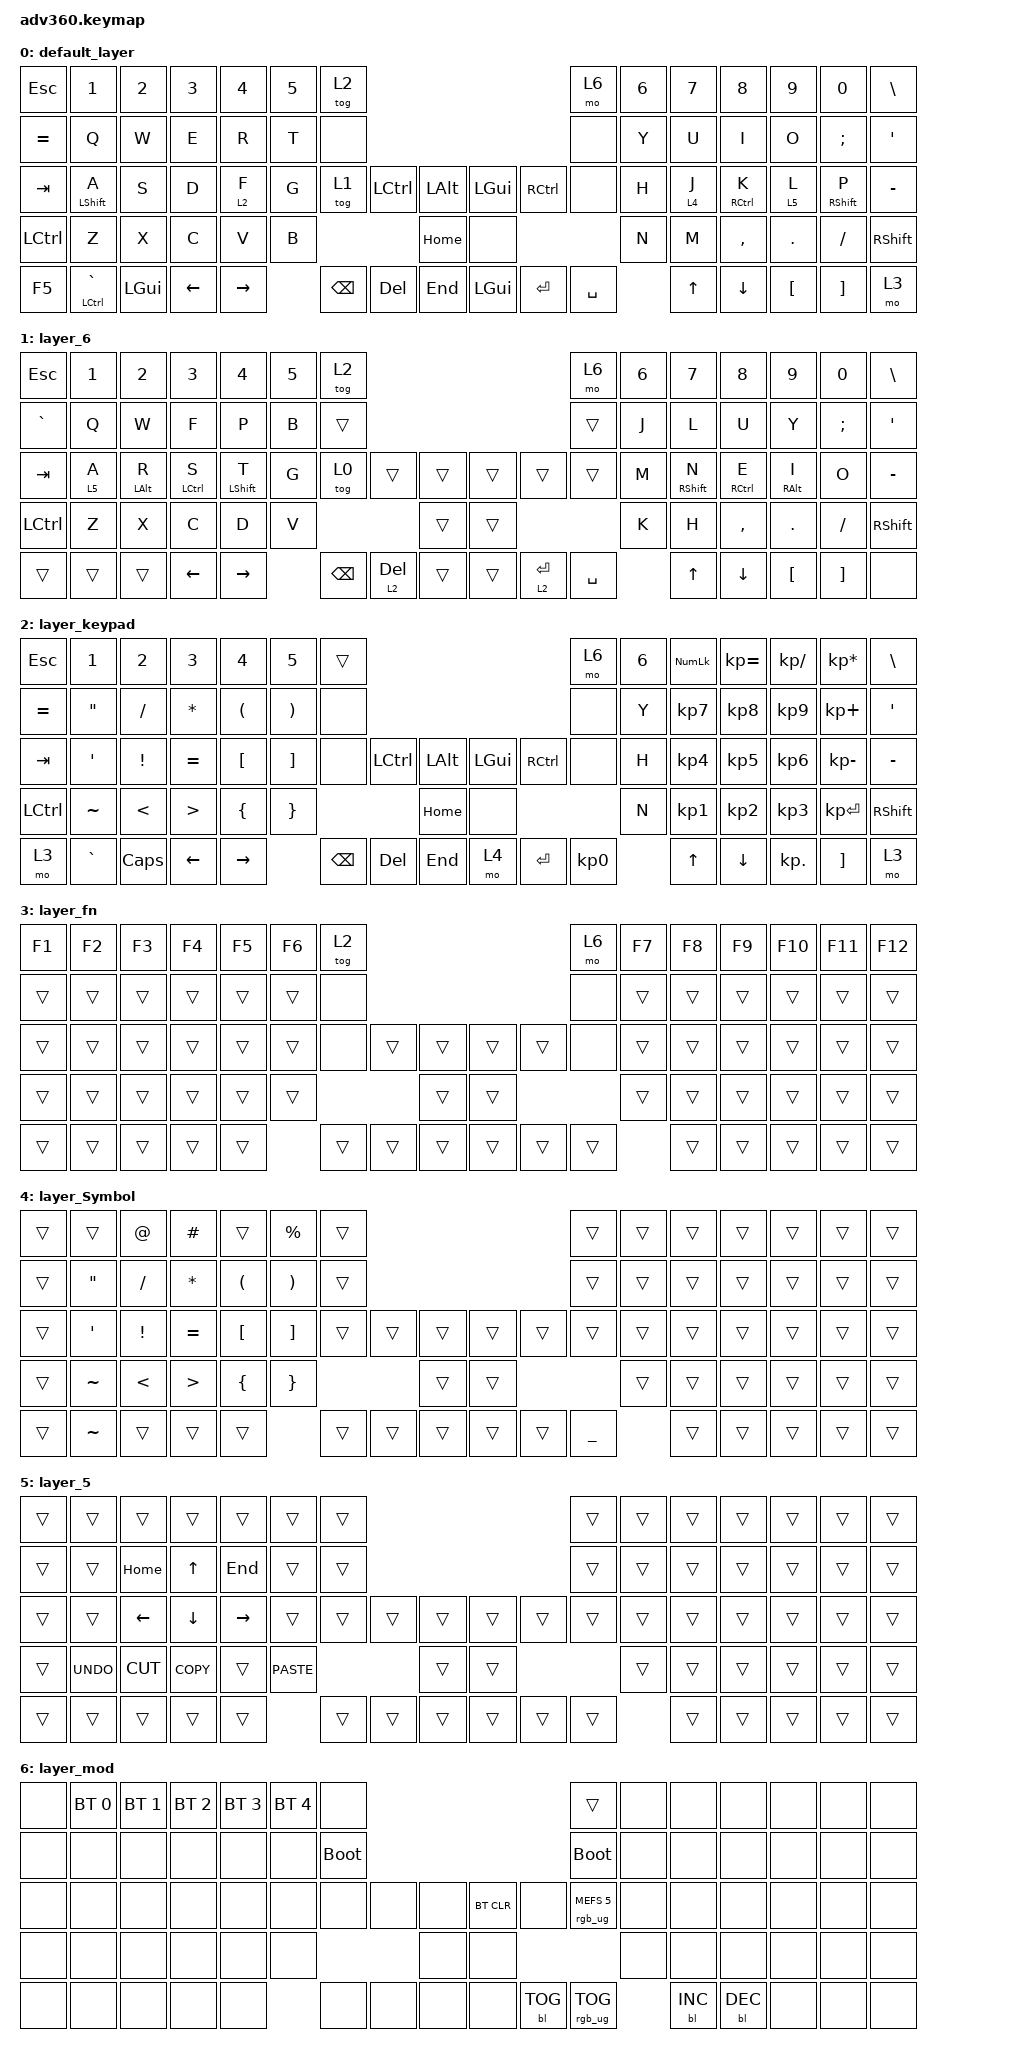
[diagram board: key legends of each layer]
/*
 * Copyright (c) 2020 The ZMK Contributors
 *
 * SPDX-License-Identifier: MIT
 */
/* THIS FILE WAS GENERATED!
 *
 * This file was generated automatically. You may or may not want to
 * edit it directly.
 */

#include <behaviors.dtsi>
#include <dt-bindings/zmk/backlight.h>
#include <dt-bindings/zmk/bt.h>
#include <dt-bindings/zmk/keys.h>
#include <dt-bindings/zmk/rgb.h>

/ {
    behaviors {
        #include "macros.dtsi"

        hm: homerow_mods {
            compatible = "zmk,behavior-hold-tap";
            label = "HOMEROW_MODS";
            #binding-cells = <2>;
            tapping-term-ms = <200>;
            quick_tap_ms = <175>;
            flavor = "tap-preferred";
            bindings = <&kp>, <&kp>;

            require-prior-idle-ms = <175>;
        };
    };

    keymap {
        compatible = "zmk,keymap";

        default_layer {
            bindings = <
&kp ESC    &kp N1            &kp N2    &kp N3    &kp N4     &kp N5  &tog 2                                                       &mo 6      &kp N6  &kp N7   &kp N8       &kp N9    &kp N0             &kp BSLH
&kp EQUAL  &kp Q             &kp W     &kp E     &kp R      &kp T   &none                                                        &none      &kp Y   &kp U    &kp I        &kp O     &kp SEMI           &kp SQT
&kp TAB    &hm LEFT_SHIFT A  &kp S     &kp D     &lt 2 F    &kp G   &tog 1         &kp LCTRL  &kp LALT      &kp LGUI  &kp RCTRL  &none      &kp H   &lt 4 J  &hm RCTRL K  &lt 5 L   &hm RIGHT_SHIFT P  &kp MINUS
&kp LCTRL  &kp Z             &kp X     &kp C     &kp V      &kp B                             &kp HOME      &none                           &kp N   &kp M    &kp COMMA    &kp DOT   &kp FSLH           &kp RSHFT
&kp F5     &hm LCTRL GRAVE   &kp LGUI  &kp LEFT  &kp RIGHT          &kp BACKSPACE  &kp DEL    &kp END       &kp LGUI  &kp ENTER  &kp SPACE          &kp UP   &kp DOWN     &kp LBKT  &kp RBKT           &mo 3
            >;
        };

        layer_6 {
            bindings = <
&kp ESC    &kp NUMBER_1  &kp NUMBER_2    &kp NUMBER_3  &kp NUMBER_4      &kp N5  &tog 2                                                        &mo 6      &kp NUMBER_6  &kp NUMBER_7       &kp NUMBER_8  &kp NUMBER_9      &kp NUMBER_0       &kp BACKSLASH
&kp GRAVE  &kp Q         &kp W           &kp F         &kp P             &kp B   &trans                                                        &trans     &kp J         &kp L              &kp U         &kp Y             &kp SEMI           &kp SQT
&kp TAB    &lt 5 A       &hm LEFT_ALT R  &hm LCTRL S   &hm LEFT_SHIFT T  &kp G   &tog 0         &trans        &trans      &trans  &trans       &trans     &kp M         &hm RIGHT_SHIFT N  &hm RCTRL E   &hm RIGHT_ALT I   &kp O              &kp MINUS
&kp LCTRL  &kp Z         &kp X           &kp C         &kp D             &kp V                                &trans      &trans                          &kp K         &kp H              &kp COMMA     &kp DOT           &kp FSLH           &kp RSHFT
&trans     &trans        &trans          &kp LEFT      &kp RIGHT                 &kp BACKSPACE  &lt 2 DELETE  &trans      &trans  &lt 2 ENTER  &kp SPACE                &kp UP             &kp DOWN      &kp LEFT_BRACKET  &kp RIGHT_BRACKET  &none
            >;
        };

        layer_keypad {
            bindings = <
&kp ESC    &kp N1             &kp N2           &kp N3            &kp N4                &kp N5                 &trans                                                  &mo 6      &kp N6  &kp KP_NUM  &kp KP_EQUAL  &kp KP_DIVIDE  &kp KP_MULTIPLY  &kp BSLH
&kp EQUAL  &kp DOUBLE_QUOTES  &kp SLASH        &kp ASTERISK      &kp LEFT_PARENTHESIS  &kp RIGHT_PARENTHESIS  &none                                                   &none      &kp Y   &kp KP_N7   &kp KP_N8     &kp KP_N9      &kp KP_PLUS      &kp SQT
&kp TAB    &kp SQT            &kp EXCLAMATION  &kp EQUAL         &kp LEFT_BRACKET      &kp RIGHT_BRACKET      &none     &kp LCTRL  &kp LALT      &kp LGUI  &kp RCTRL  &none      &kp H   &kp KP_N4   &kp KP_N5     &kp KP_N6      &kp KP_MINUS     &kp MINUS
&kp LCTRL  &kp TILDE          &kp LESS_THAN    &kp GREATER_THAN  &kp LEFT_BRACE        &kp RIGHT_BRACE                             &kp HOME      &none                           &kp N   &kp KP_N1   &kp KP_N2     &kp KP_N3      &kp KP_ENTER     &kp RSHFT
&mo 3      &kp GRAVE          &kp CAPS         &kp LEFT          &kp RIGHT                                    &kp BSPC  &kp DEL    &kp END       &mo 4     &kp ENTER  &kp KP_N0          &kp UP      &kp DOWN      &kp KP_DOT     &kp RBKT         &mo 3
            >;
        };

        layer_fn {
            bindings = <
&kp F1  &kp F2  &kp F3  &kp F4  &kp F5  &kp F6  &tog 2                                      &mo 6   &kp F7  &kp F8  &kp F9  &kp F10  &kp F11  &kp F12
&trans  &trans  &trans  &trans  &trans  &trans  &none                                       &none   &trans  &trans  &trans  &trans   &trans   &trans
&trans  &trans  &trans  &trans  &trans  &trans  &none   &trans  &trans      &trans  &trans  &none   &trans  &trans  &trans  &trans   &trans   &trans
&trans  &trans  &trans  &trans  &trans  &trans                  &trans      &trans                  &trans  &trans  &trans  &trans   &trans   &trans
&trans  &trans  &trans  &trans  &trans          &trans  &trans  &trans      &trans  &trans  &trans          &trans  &trans  &trans   &trans   &trans
            >;
        };

        layer_Symbol {
            bindings = <
&trans  &trans             &kp AT           &kp HASH          &trans                &kp PERCENT            &trans                                      &trans     &trans  &trans  &trans  &trans  &trans  &trans
&trans  &kp DOUBLE_QUOTES  &kp SLASH        &kp STAR          &kp LEFT_PARENTHESIS  &kp RIGHT_PARENTHESIS  &trans                                      &trans     &trans  &trans  &trans  &trans  &trans  &trans
&trans  &kp APOSTROPHE     &kp EXCLAMATION  &kp EQUAL         &kp LEFT_BRACKET      &kp RIGHT_BRACKET      &trans  &trans  &trans      &trans  &trans  &trans     &trans  &trans  &trans  &trans  &trans  &trans
&trans  &kp TILDE          &kp LESS_THAN    &kp GREATER_THAN  &kp LEFT_BRACE        &kp RIGHT_BRACE                        &trans      &trans                     &trans  &trans  &trans  &trans  &trans  &trans
&trans  &kp TILDE          &trans           &trans            &trans                                       &trans  &trans  &trans      &trans  &trans  &kp UNDER          &trans  &trans  &trans  &trans  &trans
            >;
        };

        layer_5 {
            bindings = <
&trans  &trans      &trans          &trans          &trans           &trans       &trans                                      &trans  &trans  &trans  &trans  &trans  &trans  &trans
&trans  &trans      &kp HOME        &kp UP_ARROW    &kp END          &trans       &trans                                      &trans  &trans  &trans  &trans  &trans  &trans  &trans
&trans  &trans      &kp LEFT_ARROW  &kp DOWN_ARROW  &kp RIGHT_ARROW  &trans       &trans  &trans  &trans      &trans  &trans  &trans  &trans  &trans  &trans  &trans  &trans  &trans
&trans  &kp K_UNDO  &kp K_CUT       &kp K_COPY      &trans           &kp K_PASTE                  &trans      &trans                  &trans  &trans  &trans  &trans  &trans  &trans
&trans  &trans      &trans          &trans          &trans                        &trans  &trans  &trans      &trans  &trans  &trans          &trans  &trans  &trans  &trans  &trans
            >;
        };

        layer_mod {
            bindings = <
&none  &bt BT_SEL 0  &bt BT_SEL 1  &bt BT_SEL 2  &bt BT_SEL 3  &bt BT_SEL 4  &none                                                  &trans                  &none  &none       &none       &none  &none  &none
&none  &none         &none         &none         &none         &none         &bootloader                                            &bootloader             &none  &none       &none       &none  &none  &none
&none  &none         &none         &none         &none         &none         &none        &none  &none      &bt BT_CLR  &none       &rgb_ug RGB_MEFS_CMD 5  &none  &none       &none       &none  &none  &none
&none  &none         &none         &none         &none         &none                             &none      &none                                           &none  &none       &none       &none  &none  &none
&none  &none         &none         &none         &none                       &none        &none  &none      &none       &bl BL_TOG  &rgb_ug RGB_TOG                &bl BL_INC  &bl BL_DEC  &none  &none  &none
            >;
        };
    };
};
